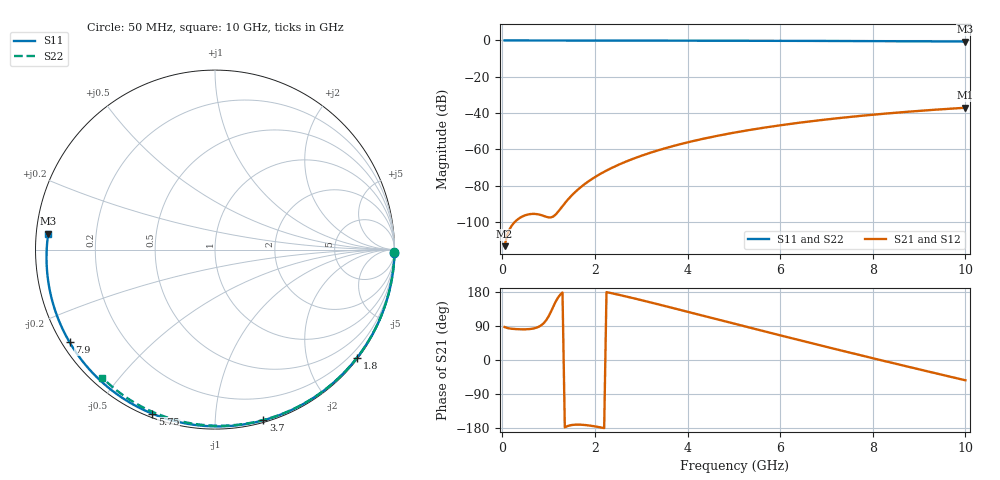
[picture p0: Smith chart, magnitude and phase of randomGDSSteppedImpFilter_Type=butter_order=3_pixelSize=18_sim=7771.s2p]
! freq	dB(S11)	phase(S11)	dB(S12)	phase(S12)
!  dB(S21)	phase(S21)	dB(S22)	phase(S22)
!S-par simulation data
#  GHz  S  DB  R 50
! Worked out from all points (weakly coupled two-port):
!   200 points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, 50 MHz to 10 GHz, reference 50 ohm
!   highest |S21| = -37.09 dB at 10 GHz (marker M1); lowest = -113.4 dB at 50 MHz (marker M2)
!   lowest |S11| = -0.6 dB at 10 GHz (marker M3), VSWR 29.10, Z = 1.72 + j2.36 ohm
!   |S11| at or under -10 dB: nowhere
!   |S22| runs from -0.4 to 0.0 dB; largest |S21 - S12| = 0
!   S11 on the Smith chart (normalised r, x): 50 MHz: open; 1.8 GHz: 0.03, -2.96; 3.7 GHz: 0.02, -1.32; 5.75 GHz: 0.02, -0.69; 7.9 GHz: 0.02, -0.29; 10 GHz: 0.03, +0.05
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0.05  -0.00 -1.1  -113.37 87.0  -113.37 87.0  -0.00 -0.8
0.45  -0.01 -9.5  -96.80 80.9  -96.80 80.9  -0.01 -6.8
0.85  -0.02 -17.8  -96.32 92.4  -96.32 92.4  -0.02 -12.8
1.25  -0.03 -26.1  -92.95 172.3  -92.95 172.3  -0.02 -18.8
1.7  -0.04 -35.3  -80.73 -170.7  -80.73 -170.7  -0.03 -25.5
1.75  -0.05 -36.3  -79.72 -171.1  -79.72 -171.1  -0.03 -26.2
1.8  -0.05 -37.3  -78.76 -171.7  -78.76 -171.7  -0.03 -26.9
2.1  -0.06 -43.3  -73.79 -177.3  -73.79 -177.3  -0.04 -31.3
2.5  -0.07 -51.2  -68.63 172.5  -68.63 172.5  -0.05 -37.1
2.9  -0.08 -59.0  -64.49 161.0  -64.49 161.0  -0.06 -42.8
3.4  -0.09 -68.6  -60.27 145.9  -60.27 145.9  -0.07 -49.9
3.7  -0.10 -74.2  -58.11 136.6  -58.11 136.6  -0.07 -54.0
4.35  -0.12 -86.2  -54.12 116.4  -54.12 116.4  -0.09 -62.9
5.05  -0.15 -98.7  -50.61 94.5  -50.61 94.5  -0.11 -72.2
5.75  -0.19 -110.9  -47.69 72.8  -47.69 72.8  -0.14 -81.2
6.2  -0.21 -118.6  -46.06 59.0  -46.06 59.0  -0.16 -86.8
6.7  -0.25 -127.1  -44.43 43.7  -44.43 43.7  -0.18 -93.0
7.3  -0.29 -137.3  -42.70 25.6  -42.70 25.6  -0.21 -100.3
7.9  -0.35 -147.5  -41.17 7.7  -41.17 7.7  -0.25 -107.4
8.35  -0.39 -155.3  -40.14 -5.6  -40.14 -5.6  -0.29 -112.6
9.2  -0.49 -170.4  -38.44 -30.5  -38.44 -30.5  -0.36 -122.3
10  -0.60 174.6  -37.09 -53.5  -37.09 -53.5  -0.44 -131.4
